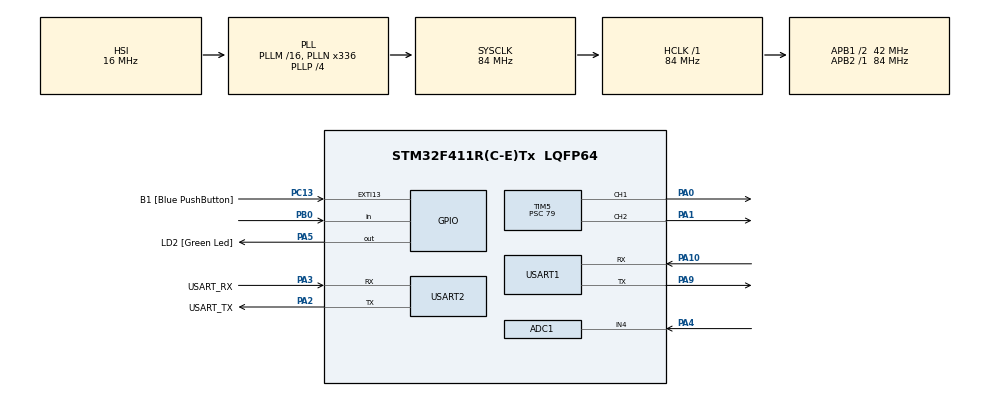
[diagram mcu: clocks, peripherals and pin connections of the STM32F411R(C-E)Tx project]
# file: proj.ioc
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ADC1.Channel-0\#ChannelRegularConversion=ADC_CHANNEL_4
ADC1.NbrOfConversionFlag=1
ADC1.Rank-0\#ChannelRegularConversion=1
ADC1.SamplingTime-0\#ChannelRegularConversion=ADC_SAMPLETIME_3CYCLES
ADC1.master=1
Mcu.Family=STM32F4
Mcu.Name=STM32F411R(C-E)Tx
Mcu.Package=LQFP64
NVIC.PriorityGroup=NVIC_PRIORITYGROUP_0
NVIC.USART1_IRQn=true\:0\:0\:false\:false\:true\:true\:true
PA0-WKUP.Signal=S_TIM5_CH1
PA1.Signal=S_TIM5_CH2
PA10.Mode=Asynchronous
PA10.Signal=USART1_RX
PA13.GPIO_Label=TMS
PA13.Mode=Serial_Wire
PA13.Signal=SYS_JTMS-SWDIO
PA14.GPIO_Label=TCK
PA14.Mode=Serial_Wire
PA14.Signal=SYS_JTCK-SWCLK
PA2.GPIO_Label=USART_TX
PA2.Mode=Asynchronous
PA2.Signal=USART2_TX
PA3.GPIO_Label=USART_RX
PA3.Mode=Asynchronous
PA3.Signal=USART2_RX
PA4.Signal=ADCx_IN4
PA5.GPIO_Label=LD2 [Green Led]
PA5.Signal=GPIO_Output
PA9.Mode=Asynchronous
PA9.Signal=USART1_TX
PB0.Signal=GPIO_Input
PB3.GPIO_Label=SWO
PB3.Signal=SYS_JTDO-SWO
PC13-ANTI_TAMP.GPIO_Label=B1 [Blue PushButton]
PC13-ANTI_TAMP.GPIO_ModeDefaultEXTI=GPIO_MODE_IT_FALLING
PC13-ANTI_TAMP.Signal=GPXTI13
PC14-OSC32_IN.Mode=LSE-External-Oscillator
PC14-OSC32_IN.Signal=RCC_OSC32_IN
PC15-OSC32_OUT.Mode=LSE-External-Oscillator
PC15-OSC32_OUT.Signal=RCC_OSC32_OUT
PH0\ -\ OSC_IN.Mode=HSE-External-Clock-Source
PH0\ -\ OSC_IN.Signal=RCC_OSC_IN
PH1\ -\ OSC_OUT.Mode=HSE-External-Clock-Source
PH1\ -\ OSC_OUT.Signal=RCC_OSC_OUT
ProjectManager.HeapSize=0x200
ProjectManager.StackSize=0x400
ProjectManager.TargetToolchain=STM32CubeIDE
RCC.48MHZClocksFreq_Value=84000000
RCC.AHBFreq_Value=84000000
RCC.APB1CLKDivider=RCC_HCLK_DIV2
RCC.APB1Freq_Value=42000000
RCC.APB1TimFreq_Value=84000000
RCC.APB2Freq_Value=84000000
RCC.APB2TimFreq_Value=84000000
RCC.CortexFreq_Value=84000000
RCC.FLatency-AdvancedSettings=FLASH_LATENCY_2
RCC.HCLKFreq_Value=84000000
RCC.HSE_VALUE=8000000
RCC.HSI_VALUE=16000000
RCC.PLLN=336
RCC.PLLP=RCC_PLLP_DIV4
RCC.SYSCLKFreq_VALUE=84000000
RCC.SYSCLKSource=RCC_SYSCLKSOURCE_PLLCLK
RCC.VCOOutputFreq_Value=336000000
SH.ADCx_IN4.0=ADC1_IN4,IN4
SH.S_TIM5_CH1.0=TIM5_CH1,PWM Generation1 CH1
SH.S_TIM5_CH2.0=TIM5_CH2,PWM Generation2 CH2
TIM2.Period=0xFFFF
TIM2.Prescaler=71
TIM5.Channel-PWM\ Generation1\ CH1=TIM_CHANNEL_1
TIM5.Channel-PWM\ Generation2\ CH2=TIM_CHANNEL_2
TIM5.Period=999
TIM5.Prescaler=79
USART1.VirtualMode=VM_ASYNC
USART2.VirtualMode=VM_ASYNC
VP_TIM2_VS_ClockSourceINT.Mode=Internal
board=NUCLEO-F411RE

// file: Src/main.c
/* USER CODE BEGIN Header */
/**
  ******************************************************************************
  * @file           : main.c
  * @brief          : Main program body
  ******************************************************************************
  * @attention
  *
  * <h2><center>&copy; Copyright (c) 2025 STMicroelectronics.
  * All rights reserved.</center></h2>
  *
  * This software component is licensed by ST under BSD 3-Clause license,
  * the "License"; You may not use this file except in compliance with the
  * License. You may obtain a copy of the License at:
  *                        opensource.org/licenses/BSD-3-Clause
  *
  ******************************************************************************
  */
/* USER CODE END Header */

#include "main.h"

/* USER CODE BEGIN Includes */
#include <stdio.h>
#include <string.h>

/* USER CODE END Includes */

ADC_HandleTypeDef hadc1;

TIM_HandleTypeDef htim2;
TIM_HandleTypeDef htim5;

UART_HandleTypeDef huart1;
UART_HandleTypeDef huart2;

void SystemClock_Config(void);
static void MX_GPIO_Init(void);
static void MX_USART2_UART_Init(void);
static void MX_ADC1_Init(void);
static void MX_TIM2_Init(void);
static void MX_TIM5_Init(void);
static void MX_USART1_UART_Init(void);

/* USER CODE BEGIN 0 */

int _write(int file, char *ptr, int len)
{
    HAL_UART_Transmit(&huart2, (uint8_t*)ptr, len, HAL_MAX_DELAY);
    return len;
}

void delay_ms(uint32_t ms) {
    HAL_Delay(ms);
}

void delay_us(uint32_t us)
{
    __HAL_TIM_SET_COUNTER(&htim2, 0);
    while (__HAL_TIM_GET_COUNTER(&htim2) < us);
}

void DHT11_SetPinOutput(void)
{
    GPIO_InitTypeDef GPIO_InitStruct = {0};
    GPIO_InitStruct.Pin = GPIO_PIN_0;
    GPIO_InitStruct.Mode = GPIO_MODE_OUTPUT_PP;
    GPIO_InitStruct.Speed = GPIO_SPEED_FREQ_LOW;
    HAL_GPIO_Init(GPIOB, &GPIO_InitStruct);
}

void DHT11_SetPinInput(void)
{
    GPIO_InitTypeDef GPIO_InitStruct = {0};
    GPIO_InitStruct.Pin = GPIO_PIN_0;
    GPIO_InitStruct.Mode = GPIO_MODE_INPUT;
    GPIO_InitStruct.Pull = GPIO_NOPULL;
    HAL_GPIO_Init(GPIOB, &GPIO_InitStruct);
}

void DHT11_Start(void)
{
	printf("DHT11_Start(): set as OUTPUT, drive LOW (start signal)\r\n");
    DHT11_SetPinOutput();
    HAL_GPIO_WritePin(GPIOB, GPIO_PIN_0, GPIO_PIN_RESET);
    HAL_Delay(20);

    printf("DHT11_Start(): release line (HIGH) and switch to INPUT\r\n");
    HAL_GPIO_WritePin(GPIOB, GPIO_PIN_0, GPIO_PIN_SET);
    delay_us(30);

    DHT11_SetPinInput();
}

uint8_t DHT11_WaitForPin(GPIO_PinState state, uint32_t timeout_us)
{
    __HAL_TIM_SET_COUNTER(&htim2, 0);  // Always reset the timer
    while (HAL_GPIO_ReadPin(GPIOB, GPIO_PIN_0) != state)
    {
        if (__HAL_TIM_GET_COUNTER(&htim2) > timeout_us)
            return 0;
    }
    return 1;
}

uint8_t DHT11_ReadBit(void)
{
    if (!DHT11_WaitForPin(GPIO_PIN_RESET, 100))
        return 0;

    if (!DHT11_WaitForPin(GPIO_PIN_SET, 100))
        return 0;

    delay_us(40);

    uint8_t bit = (HAL_GPIO_ReadPin(GPIOB, GPIO_PIN_0) == GPIO_PIN_SET) ? 1 : 0;

    DHT11_WaitForPin(GPIO_PIN_RESET, 100);

    return bit;
}

uint8_t DHT11_ReadByte(void)
{
    uint8_t value = 0;
    for (int i = 0; i < 8; i++)
    {
        value <<= 1;
        value |= DHT11_ReadBit();
    }
    return value;
}

uint8_t DHT11_ReadData(uint8_t *temp, uint8_t *humi)
{
    uint8_t data[5];

    DHT11_Start();

    if (!DHT11_WaitForPin(GPIO_PIN_RESET, 100))
        return 0;

    if (!DHT11_WaitForPin(GPIO_PIN_SET, 100))
        return 0;

    if (!DHT11_WaitForPin(GPIO_PIN_RESET, 100))
        return 0;

    for (int i = 0; i < 5; i++)
    {
        data[i] = DHT11_ReadByte();
    }

    if (data[4] == ((data[0] + data[1] + data[2] + data[3]) & 0xFF))
    {
        *humi = data[0];
        *temp = data[2];
        return 1;
    }

    return 0;
}

#define DHT11_MAX_TRIES 5
#define DHT11_RETRY_DELAY_MS 200

uint8_t DHT11_ReadDataWithRetry(uint8_t *temp, uint8_t *humi)
{
    for (int t = 0; t < DHT11_MAX_TRIES; t++) {
        if (DHT11_ReadData(temp, humi)) {
            if (t > 0) printf("DHT11: succeeded on try %d\r\n", t+1);
            return 1;
        }
        printf("DHT11: try %d failed, retrying after %d ms\r\n", t+1, DHT11_RETRY_DELAY_MS);
        HAL_Delay(DHT11_RETRY_DELAY_MS);
    }
    return 0;
}

void SendToNodeMCU(const char* msg) {
    HAL_UART_Transmit(&huart1, (uint8_t*)msg, strlen(msg), 100);
}

// Heat Index Thresholds (NOAA Standard)
#define HEAT_INDEX_CAUTION     27.0f
#define HEAT_INDEX_DANGER      32.0f
#define HEAT_INDEX_EXTREME     41.0f
#define LIGHT_DARK_THRESHOLD   2000

float calculateHeatIndex(float tempC, float humidity) {
    if (tempC < 27.0f) {
        return tempC;
    }

    // T = Temperature (Celsius)
    // RH = Relative Humidity (%)
    float T = tempC;
    float RH = humidity;

    // Rothfusz Regression
    float c1 = -8.78469475556;
    float c2 = 1.61139411;
    float c3 = 2.33854883889;
    float c4 = -0.14611605;
    float c5 = -0.012308094;
    float c6 = -0.0164248277778;
    float c7 = 0.002211732;
    float c8 = 0.00072546;
    float c9 = -0.000003582;

    float HI = c1 + (c2 * T) + (c3 * RH) + (c4 * T * RH) +
               (c5 * T * T) + (c6 * RH * RH) +
               (c7 * T * T * RH) + (c8 * T * RH * RH) +
               (c9 * T * T * RH * RH);

    return HI;
}

int isBadAir(float temp, float humi, int light) {
    float heatIndex = calculateHeatIndex(temp, humi);
    if (heatIndex >= HEAT_INDEX_DANGER) {
        return 1;  // Bad Air
    }
    return 0;
}

int isTooDark(int light) {
    if (light <= LIGHT_DARK_THRESHOLD) return 1;
    return 0;
}

void SetGreen() {
	HAL_GPIO_WritePin(GPIOA, GPIO_PIN_0, GPIO_PIN_RESET);
	HAL_GPIO_WritePin(GPIOA, GPIO_PIN_1, GPIO_PIN_SET);
}

void SetRed() {
	HAL_GPIO_WritePin(GPIOA, GPIO_PIN_0, GPIO_PIN_SET);
	HAL_GPIO_WritePin(GPIOA, GPIO_PIN_1, GPIO_PIN_RESET);
}

// PWM Functions
void PWM_Start(void) {
    HAL_TIM_PWM_Start(&htim5, TIM_CHANNEL_1);  // Red LED
    HAL_TIM_PWM_Start(&htim5, TIM_CHANNEL_2);  // Green LED
}

void PWM_SetRed(uint16_t brightness) {
    __HAL_TIM_SET_COMPARE(&htim5, TIM_CHANNEL_1, brightness);
}

void PWM_SetGreen(uint16_t brightness) {
    __HAL_TIM_SET_COMPARE(&htim5, TIM_CHANNEL_2, brightness);
}

void PWM_SetColor(uint16_t red, uint16_t green) {
    PWM_SetRed(red);
    PWM_SetGreen(green);
}

// Set LED by Heat Index (Range-based)
void SetLEDByHeatIndex(float heatIndex) {
    if (heatIndex < HEAT_INDEX_CAUTION) {
        PWM_SetColor(0, 999); // < 27°C: Green
    }
    else if (heatIndex < HEAT_INDEX_DANGER) {
        PWM_SetColor(35, 999); // 27-32°C: Yellow
    }
    else if (heatIndex < HEAT_INDEX_EXTREME) {
        PWM_SetColor(300, 999); // 32-41°C: Orange
    }
    else {
        PWM_SetColor(999, 0); // >= 41°C: Red
    }
}

/* USER CODE END 0 */

int main(void)
{

  /* MCU Configuration--------------------------------------------------------*/

  /* Reset of all peripherals, Initializes the Flash interface and the Systick. */
  HAL_Init();

  /* Configure the system clock */
  SystemClock_Config();

  /* Initialize all configured peripherals */
  MX_GPIO_Init();
  MX_USART2_UART_Init();
  MX_ADC1_Init();
  MX_TIM2_Init();
  MX_TIM5_Init();
  MX_USART1_UART_Init();
  /* USER CODE BEGIN 2 */
	HAL_TIM_Base_Start(&htim2);
	HAL_TIM_Base_Start(&htim5);
	PWM_Start();

	/* --- Debug: print clocks and timer prescaler --- */
	printf("\r\n==== SYSTEM INFO ====\r\n");
	printf("SYSCLK = %lu\r\n", HAL_RCC_GetSysClockFreq());
	printf("HCLK   = %lu\r\n", HAL_RCC_GetHCLKFreq());
	printf("PCLK1  = %lu\r\n", HAL_RCC_GetPCLK1Freq());
	printf("PCLK2  = %lu\r\n", HAL_RCC_GetPCLK2Freq());
	printf("TIM2 PSC = %lu\r\n", htim2.Init.Prescaler);

	/* measure actual delay_us */
	__HAL_TIM_SET_COUNTER(&htim2, 0);
	uint32_t t1 = __HAL_TIM_GET_COUNTER(&htim2);
	delay_us(100);
	uint32_t t2 = __HAL_TIM_GET_COUNTER(&htim2);
	printf("delay_us(100) actual = %lu us\r\n", (t2 - t1));

	int adcval = 0;
	char buf[256];

	uint8_t temp, humi;
	printf("DHT11 Ready...\r\n");
	HAL_Delay(1500);
  /* USER CODE END 2 */

  /* Infinite loop */
	while (1)
	{

    /* USER CODE BEGIN 3 */
		HAL_ADC_Start(&hadc1);
		if (HAL_ADC_PollForConversion(&hadc1, 1000) == HAL_OK) {
			adcval = HAL_ADC_GetValue(&hadc1);
			sprintf(buf,  "Light %d\r\n" , adcval);
			HAL_UART_Transmit(&huart2, buf, strlen(buf), 1000);
		}

		printf("TIMER count = %lu\r\n", __HAL_TIM_GET_COUNTER(&htim2));
		HAL_Delay(500);

		if (DHT11_ReadData(&temp, &humi))
		{
		  printf("Temp: %d C, Humidity: %d %%\r\n", temp, humi);
		}
		else
		{
		  printf("DHT11 Read Failed!\r\n");
		}

		HAL_Delay(1000);

		float heatIndex = calculateHeatIndex((float)temp, (float)humi);
		SetLEDByHeatIndex(heatIndex);
		int badAir = isBadAir(temp, humi, adcval);
		int tooDark = isTooDark(adcval);

		// Integer Round
		int feelsLike = (int)(heatIndex);

		// Communication with NodeMCU
		sprintf(buf, "T:%d,H:%d,L:%d,D:%d,B:%d,F:%d\r\n", temp, humi, adcval, tooDark, badAir, feelsLike);
		HAL_UART_Transmit(&huart1, (uint8_t*)buf, strlen(buf), 100);
	}
  /* USER CODE END 3 */
}

void SystemClock_Config(void)
{
  RCC_OscInitTypeDef RCC_OscInitStruct = {0};
  RCC_ClkInitTypeDef RCC_ClkInitStruct = {0};

  /** Configure the main internal regulator output voltage
  */
  __HAL_RCC_PWR_CLK_ENABLE();
  __HAL_PWR_VOLTAGESCALING_CONFIG(PWR_REGULATOR_VOLTAGE_SCALE1);
  /** Initializes the CPU, AHB and APB busses clocks
  */
  RCC_OscInitStruct.OscillatorType = RCC_OSCILLATORTYPE_HSI;
  RCC_OscInitStruct.HSIState = RCC_HSI_ON;
  RCC_OscInitStruct.HSICalibrationValue = RCC_HSICALIBRATION_DEFAULT;
  RCC_OscInitStruct.PLL.PLLState = RCC_PLL_ON;
  RCC_OscInitStruct.PLL.PLLSource = RCC_PLLSOURCE_HSI;
  RCC_OscInitStruct.PLL.PLLM = 16;
  RCC_OscInitStruct.PLL.PLLN = 336;
  RCC_OscInitStruct.PLL.PLLP = RCC_PLLP_DIV4;
  RCC_OscInitStruct.PLL.PLLQ = 4;
  if (HAL_RCC_OscConfig(&RCC_OscInitStruct) != HAL_OK)
  {
    Error_Handler();
  }
  /** Initializes the CPU, AHB and APB busses clocks
  */
  RCC_ClkInitStruct.ClockType = RCC_CLOCKTYPE_HCLK|RCC_CLOCKTYPE_SYSCLK
                              |RCC_CLOCKTYPE_PCLK1|RCC_CLOCKTYPE_PCLK2;
  RCC_ClkInitStruct.SYSCLKSource = RCC_SYSCLKSOURCE_PLLCLK;
  RCC_ClkInitStruct.AHBCLKDivider = RCC_SYSCLK_DIV1;
  RCC_ClkInitStruct.APB1CLKDivider = RCC_HCLK_DIV2;
  RCC_ClkInitStruct.APB2CLKDivider = RCC_HCLK_DIV1;

  if (HAL_RCC_ClockConfig(&RCC_ClkInitStruct, FLASH_LATENCY_2) != HAL_OK)
  {
    Error_Handler();
  }
}

static void MX_ADC1_Init(void)
{

  ADC_ChannelConfTypeDef sConfig = {0};

  /** Configure the global features of the ADC (Clock, Resolution, Data Alignment and number of conversion)
  */
  hadc1.Instance = ADC1;
  hadc1.Init.ClockPrescaler = ADC_CLOCK_SYNC_PCLK_DIV4;
  hadc1.Init.Resolution = ADC_RESOLUTION_12B;
  hadc1.Init.ScanConvMode = DISABLE;
  hadc1.Init.ContinuousConvMode = DISABLE;
  hadc1.Init.DiscontinuousConvMode = DISABLE;
  hadc1.Init.ExternalTrigConvEdge = ADC_EXTERNALTRIGCONVEDGE_NONE;
  hadc1.Init.ExternalTrigConv = ADC_SOFTWARE_START;
  hadc1.Init.DataAlign = ADC_DATAALIGN_RIGHT;
  hadc1.Init.NbrOfConversion = 1;
  hadc1.Init.DMAContinuousRequests = DISABLE;
  hadc1.Init.EOCSelection = ADC_EOC_SINGLE_CONV;
  if (HAL_ADC_Init(&hadc1) != HAL_OK)
  {
    Error_Handler();
  }
  /** Configure for the selected ADC regular channel its corresponding rank in the sequencer and its sample time.
  */
  sConfig.Channel = ADC_CHANNEL_4;
  sConfig.Rank = 1;
  sConfig.SamplingTime = ADC_SAMPLETIME_3CYCLES;
  if (HAL_ADC_ConfigChannel(&hadc1, &sConfig) != HAL_OK)
  {
    Error_Handler();
  }

}

static void MX_TIM2_Init(void)
{

  TIM_ClockConfigTypeDef sClockSourceConfig = {0};
  TIM_MasterConfigTypeDef sMasterConfig = {0};

  htim2.Instance = TIM2;
  htim2.Init.Prescaler = 71;
  htim2.Init.CounterMode = TIM_COUNTERMODE_UP;
  htim2.Init.Period = 0xFFFF;
  htim2.Init.ClockDivision = TIM_CLOCKDIVISION_DIV1;
  htim2.Init.AutoReloadPreload = TIM_AUTORELOAD_PRELOAD_DISABLE;
  if (HAL_TIM_Base_Init(&htim2) != HAL_OK)
  {
    Error_Handler();
  }
  sClockSourceConfig.ClockSource = TIM_CLOCKSOURCE_INTERNAL;
  if (HAL_TIM_ConfigClockSource(&htim2, &sClockSourceConfig) != HAL_OK)
  {
    Error_Handler();
  }
  sMasterConfig.MasterOutputTrigger = TIM_TRGO_RESET;
  sMasterConfig.MasterSlaveMode = TIM_MASTERSLAVEMODE_DISABLE;
  if (HAL_TIMEx_MasterConfigSynchronization(&htim2, &sMasterConfig) != HAL_OK)
  {
    Error_Handler();
  }

}

static void MX_TIM5_Init(void)
{

  TIM_MasterConfigTypeDef sMasterConfig = {0};
  TIM_OC_InitTypeDef sConfigOC = {0};

  htim5.Instance = TIM5;
  htim5.Init.Prescaler = 79;
  htim5.Init.CounterMode = TIM_COUNTERMODE_UP;
  htim5.Init.Period = 999;
  htim5.Init.ClockDivision = TIM_CLOCKDIVISION_DIV1;
  htim5.Init.AutoReloadPreload = TIM_AUTORELOAD_PRELOAD_DISABLE;
  if (HAL_TIM_PWM_Init(&htim5) != HAL_OK)
  {
    Error_Handler();
  }
  sMasterConfig.MasterOutputTrigger = TIM_TRGO_RESET;
  sMasterConfig.MasterSlaveMode = TIM_MASTERSLAVEMODE_DISABLE;
  if (HAL_TIMEx_MasterConfigSynchronization(&htim5, &sMasterConfig) != HAL_OK)
  {
    Error_Handler();
  }
  sConfigOC.OCMode = TIM_OCMODE_PWM1;
  sConfigOC.Pulse = 0;
  sConfigOC.OCPolarity = TIM_OCPOLARITY_HIGH;
  sConfigOC.OCFastMode = TIM_OCFAST_DISABLE;
  if (HAL_TIM_PWM_ConfigChannel(&htim5, &sConfigOC, TIM_CHANNEL_1) != HAL_OK)
  {
    Error_Handler();
  }
  if (HAL_TIM_PWM_ConfigChannel(&htim5, &sConfigOC, TIM_CHANNEL_2) != HAL_OK)
  {
    Error_Handler();
  }
  HAL_TIM_MspPostInit(&htim5);

}

static void MX_USART1_UART_Init(void)
{

  huart1.Instance = USART1;
  huart1.Init.BaudRate = 115200;
  huart1.Init.WordLength = UART_WORDLENGTH_8B;
  huart1.Init.StopBits = UART_STOPBITS_1;
  huart1.Init.Parity = UART_PARITY_NONE;
  huart1.Init.Mode = UART_MODE_TX_RX;
  huart1.Init.HwFlowCtl = UART_HWCONTROL_NONE;
  huart1.Init.OverSampling = UART_OVERSAMPLING_16;
  if (HAL_UART_Init(&huart1) != HAL_OK)
  {
    Error_Handler();
  }

}

static void MX_USART2_UART_Init(void)
{

  huart2.Instance = USART2;
  huart2.Init.BaudRate = 115200;
  huart2.Init.WordLength = UART_WORDLENGTH_8B;
  huart2.Init.StopBits = UART_STOPBITS_1;
  huart2.Init.Parity = UART_PARITY_NONE;
  huart2.Init.Mode = UART_MODE_TX_RX;
  huart2.Init.HwFlowCtl = UART_HWCONTROL_NONE;
  huart2.Init.OverSampling = UART_OVERSAMPLING_16;
  if (HAL_UART_Init(&huart2) != HAL_OK)
  {
    Error_Handler();
  }

}

static void MX_GPIO_Init(void)
{
  GPIO_InitTypeDef GPIO_InitStruct = {0};

  /* GPIO Ports Clock Enable */
  __HAL_RCC_GPIOC_CLK_ENABLE();
  __HAL_RCC_GPIOH_CLK_ENABLE();
  __HAL_RCC_GPIOA_CLK_ENABLE();
  __HAL_RCC_GPIOB_CLK_ENABLE();

  /*Configure GPIO pin Output Level */
  HAL_GPIO_WritePin(LD2_GPIO_Port, LD2_Pin, GPIO_PIN_RESET);

  /*Configure GPIO pin : B1_Pin */
  GPIO_InitStruct.Pin = B1_Pin;
  GPIO_InitStruct.Mode = GPIO_MODE_IT_FALLING;
  GPIO_InitStruct.Pull = GPIO_NOPULL;
  HAL_GPIO_Init(B1_GPIO_Port, &GPIO_InitStruct);

  /*Configure GPIO pin : LD2_Pin */
  GPIO_InitStruct.Pin = LD2_Pin;
  GPIO_InitStruct.Mode = GPIO_MODE_OUTPUT_PP;
  GPIO_InitStruct.Pull = GPIO_NOPULL;
  GPIO_InitStruct.Speed = GPIO_SPEED_FREQ_LOW;
  HAL_GPIO_Init(LD2_GPIO_Port, &GPIO_InitStruct);

  /*Configure GPIO pin : PB0 */
  GPIO_InitStruct.Pin = GPIO_PIN_0;
  GPIO_InitStruct.Mode = GPIO_MODE_INPUT;
  GPIO_InitStruct.Pull = GPIO_NOPULL;
  HAL_GPIO_Init(GPIOB, &GPIO_InitStruct);

}

void Error_Handler(void)
{
}

/************************ (C) COPYRIGHT STMicroelectronics *****END OF FILE****/
